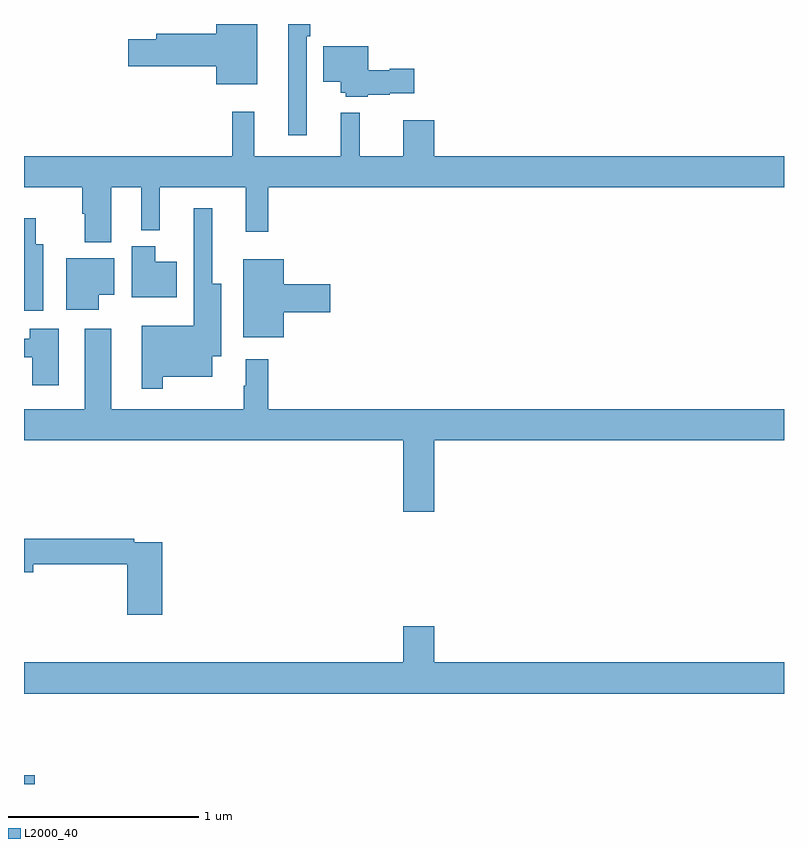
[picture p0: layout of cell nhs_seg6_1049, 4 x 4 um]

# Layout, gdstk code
import gdstk
lib = gdstk.Library(unit=1e-6, precision=1e-09)
def R(c, l, rs):  # rectangles x0, y0, x1, y1
    for r in rs: c.add(gdstk.rectangle(r[:2], r[2:], *l))
def P(c, l, *ps):  # polygons
    for p in ps: c.add(gdstk.Polygon(p, *l))
L2000_40 = (2000, 40)

nhs_seg6_1049 = lib.new_cell('nhs_seg6_1049')
R(nhs_seg6_1049, L2000_40, [(175,973.5,175.057,973.545)])
P(nhs_seg6_1049, L2000_40, [(176.227,977.5),(176.012,977.5),(176.012,977.45),(175.697,977.45),(175.697,977.42),(175.548,977.42),(175.548,977.278),(176.012,977.278),(176.012,977.183),(176.227,977.183)],
  [(176.487,977.435),(176.507,977.435),(176.507,977.5),(176.39,977.5),(176.39,976.914),(176.487,976.914)],
  [(176.808,977.128),(176.925,977.128),(176.925,977.135),(177.055,977.135),(177.055,977.265),(176.925,977.265),(176.925,977.257),(176.812,977.257),(176.812,977.383),(176.576,977.383),(176.576,977.195),(176.666,977.195),(176.666,977.139),(176.694,977.139),(176.694,977.117),(176.808,977.117)],
  [(176.996,976.993),(176.996,976.804),(176.766,976.804),(176.766,977.032),(176.666,977.032),(176.666,976.804),(176.213,976.804),(176.213,977.038),(176.095,977.038),(176.095,976.804),(175,976.804),(175,976.64),(175.307,976.64),(175.307,976.502),(175.319,976.502),(175.319,976.352),(175.459,976.352),(175.459,976.64),(175.616,976.64),(175.616,976.415),(175.715,976.415),(175.715,976.64),(176.168,976.64),(176.168,976.407),(176.285,976.407),(176.285,976.64),(179,976.64),(179,976.804),(177.16,976.804),(177.16,976.993)],
  [(175.729,975.644),(175.99,975.644),(175.99,975.752),(176.038,975.752),(176.038,976.132),(175.99,976.132),(175.99,976.531),(175.893,976.531),(175.893,975.913),(175.62,975.913),(175.62,975.579),(175.729,975.579)],
  [(175.102,976.342),(175.063,976.342),(175.063,976.477),(175,976.477),(175,975.99),(175.102,975.99)],
  [(175.804,976.249),(175.69,976.249),(175.69,976.33),(175.568,976.33),(175.568,976.061),(175.804,976.061)],
  [(175.393,976.076),(175.474,976.076),(175.474,976.267),(175.223,976.267),(175.223,975.995),(175.393,975.995)],
  [(176.368,975.983),(176.611,975.983),(176.611,976.13),(176.368,976.13),(176.368,976.261),(176.153,976.261),(176.153,975.851),(176.368,975.851)],
  [(177.16,975.308),(179,975.308),(179,975.472),(176.285,975.472),(176.285,975.736),(176.168,975.736),(176.168,975.596),(176.157,975.596),(176.157,975.472),(175.459,975.472),(175.459,975.895),(175.319,975.895),(175.319,975.472),(175,975.472),(175,975.308),(176.996,975.308),(176.996,974.934),(177.16,974.934)],
  [(175.183,975.895),(175.031,975.895),(175.031,975.843),(175,975.843),(175,975.747),(175.043,975.747),(175.043,975.6),(175.183,975.6)],
  [(175.727,974.772),(175.58,974.772),(175.58,974.792),(175,974.792),(175,974.614),(175.048,974.614),(175.048,974.656),(175.544,974.656),(175.544,974.391),(175.727,974.391)],
  [(179,974.14),(177.16,974.14),(177.16,974.329),(176.996,974.329),(176.996,974.14),(175,974.14),(175,973.976),(179,973.976)])

lib.write_gds('nhs_seg6_1049.gds')
